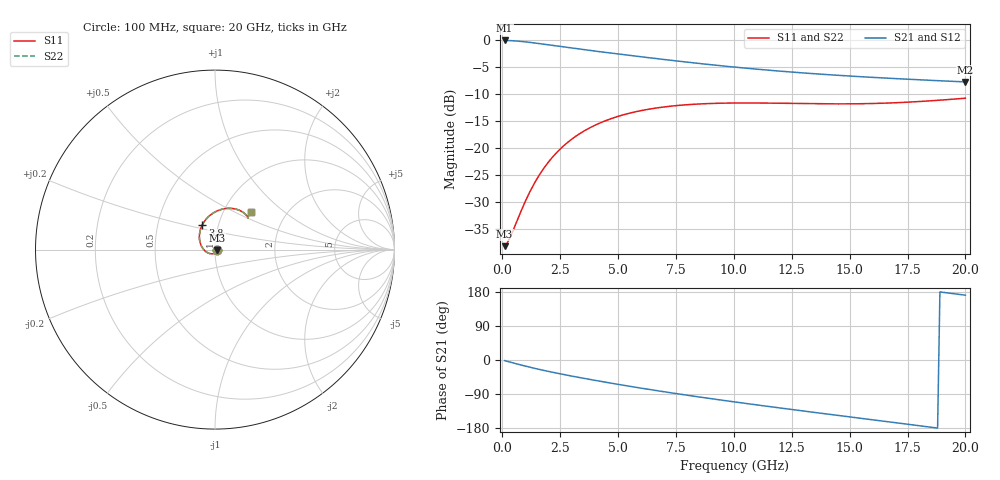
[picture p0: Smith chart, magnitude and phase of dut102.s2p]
! Created with skrf 1.9.0 (http://scikit-rf.org).
# GHz S RI R 50.0
!freq ReS11 ImS11 ReS21 ImS21 ReS12 ImS12 ReS22 ImS22
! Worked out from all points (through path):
!   200 points, 100 MHz to 20 GHz, reference 50 ohm
!   highest |S21| = -0.11 dB at 100 MHz (marker M1); lowest = -7.8 dB at 20 GHz (marker M2)
!   group delay of S21, straight-line fit = 24.8 ps
!   lowest |S11| = -38.2 dB at 100 MHz (marker M3), VSWR 1.02, Z = 51.2 - j0.4 ohm
!   |S11| at or under -10 dB: start of sweep to end of sweep
!   |S22| runs from -38.2 to -10.8 dB; largest |S21 - S12| = 2.6e-15
!   S11 on the Smith chart (normalised r, x): 100 MHz: 1.02, -0.01; 3.8 GHz: 0.84, +0.23; 20 GHz: 1.34, +0.61
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0.1  0.0116 -0.00391  0.9872 -0.0289  0.9872 -0.0289  0.0116 -0.00391
0.3  0.00846 -0.0114  0.9811 -0.086  0.9811 -0.086  0.00846 -0.0114
0.9  -0.0166 -0.0235  0.932 -0.2436  0.932 -0.2436  -0.0166 -0.0235
1.2  -0.0337 -0.0206  0.8948 -0.3111  0.8948 -0.3111  -0.0337 -0.0206
1.7  -0.0604 -0.00267  0.8228 -0.4055  0.8228 -0.4055  -0.0604 -0.00267
2.1  -0.0761 0.0203  0.761 -0.4664  0.761 -0.4664  -0.0761 0.0203
2.5  -0.085 0.0476  0.6981 -0.5165  0.6981 -0.5165  -0.085 0.0476
3  -0.0866 0.0834  0.6197 -0.5668  0.6197 -0.5668  -0.0866 0.0834
3.5  -0.0791 0.1177  0.5423 -0.6056  0.5423 -0.6056  -0.0791 0.1177
3.8  -0.0712 0.1365  0.4966 -0.6241  0.4966 -0.6241  -0.0712 0.1365
4.4  -0.0497 0.1691  0.4073 -0.6513  0.4073 -0.6513  -0.0497 0.1691
5.1  -0.0189 0.1976  0.3075 -0.6686  0.3075 -0.6686  -0.0189 0.1976
5.9  0.0188 0.2182  0.2008 -0.6719  0.2008 -0.6719  0.0188 0.2182
6.8  0.0595 0.2287  0.0918 -0.6586  0.0918 -0.6586  0.0595 0.2287
8.4  0.1179 0.2251  -0.0706 -0.6037  -0.0706 -0.6037  0.1179 0.2251
10.1  0.1569 0.2075  -0.2017 -0.5198  -0.2017 -0.5198  0.1569 0.2075
11.7  0.1755 0.1907  -0.2923 -0.4293  -0.2923 -0.4293  0.1755 0.1907
13.4  0.1829 0.1793  -0.36 -0.3277  -0.36 -0.3277  0.1829 0.1793
15  0.1843 0.1768  -0.4009 -0.2302  -0.4009 -0.2302  0.1843 0.1768
16.7  0.1853 0.1824  -0.4222 -0.1266  -0.4222 -0.1266  0.1853 0.1824
18.3  0.1895 0.1934  -0.4226 -0.0317  -0.4226 -0.0317  0.1895 0.1934
20  0.1995 0.2079  -0.403 0.0632  -0.403 0.0632  0.1995 0.2079
